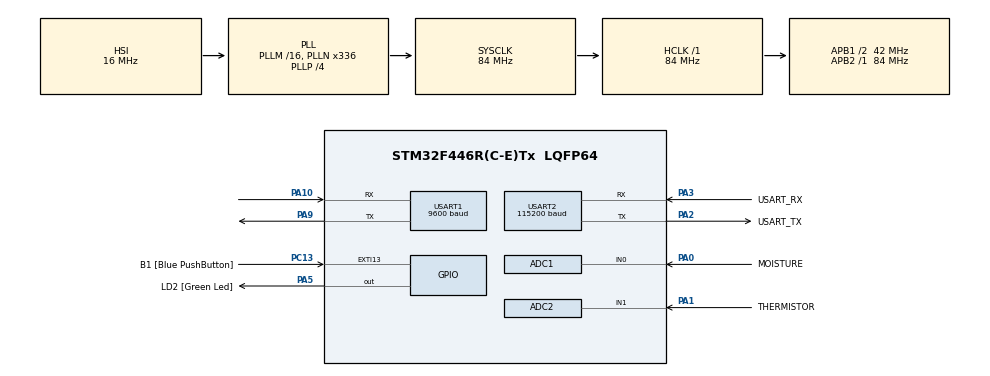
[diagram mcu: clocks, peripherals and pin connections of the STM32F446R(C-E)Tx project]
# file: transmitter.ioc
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ADC1.Channel-0\#ChannelRegularConversion=ADC_CHANNEL_0
ADC1.NbrOfConversionFlag=1
ADC1.Rank-0\#ChannelRegularConversion=1
ADC1.SamplingTime-0\#ChannelRegularConversion=ADC_SAMPLETIME_3CYCLES
ADC1.master=1
ADC2.Channel-1\#ChannelRegularConversion=ADC_CHANNEL_1
ADC2.NbrOfConversionFlag=1
ADC2.Rank-1\#ChannelRegularConversion=1
ADC2.SamplingTime-1\#ChannelRegularConversion=ADC_SAMPLETIME_3CYCLES
Mcu.Family=STM32F4
Mcu.Name=STM32F446R(C-E)Tx
Mcu.Package=LQFP64
NVIC.PriorityGroup=NVIC_PRIORITYGROUP_0
PA0-WKUP.GPIO_Label=MOISTURE
PA0-WKUP.Signal=ADCx_IN0
PA1.GPIO_Label=THERMISTOR
PA1.Signal=ADCx_IN1
PA10.Mode=Asynchronous
PA10.Signal=USART1_RX
PA13.GPIO_Label=TMS
PA13.Mode=Serial_Wire
PA13.Signal=SYS_JTMS-SWDIO
PA14.GPIO_Label=TCK
PA14.Mode=Serial_Wire
PA14.Signal=SYS_JTCK-SWCLK
PA2.GPIO_Label=USART_TX
PA2.Mode=Asynchronous
PA2.Signal=USART2_TX
PA3.GPIO_Label=USART_RX
PA3.Mode=Asynchronous
PA3.Signal=USART2_RX
PA5.GPIO_Label=LD2 [Green Led]
PA5.Signal=GPIO_Output
PA9.Mode=Asynchronous
PA9.Signal=USART1_TX
PB3.GPIO_Label=SWO
PB3.Signal=SYS_JTDO-SWO
PC13.GPIO_Label=B1 [Blue PushButton]
PC13.GPIO_ModeDefaultEXTI=GPIO_MODE_IT_FALLING
PC13.Signal=GPXTI13
PC14-OSC32_IN.Mode=LSE-External-Oscillator
PC14-OSC32_IN.Signal=RCC_OSC32_IN
PC15-OSC32_OUT.Mode=LSE-External-Oscillator
PC15-OSC32_OUT.Signal=RCC_OSC32_OUT
PH0-OSC_IN.Mode=HSE-External-Oscillator
PH0-OSC_IN.Signal=RCC_OSC_IN
PH1-OSC_OUT.Mode=HSE-External-Oscillator
PH1-OSC_OUT.Signal=RCC_OSC_OUT
ProjectManager.HeapSize=0x200
ProjectManager.StackSize=0x400
ProjectManager.TargetToolchain=STM32CubeIDE
RCC.48MHZClocksFreq_Value=84000000
RCC.AHBFreq_Value=84000000
RCC.APB1CLKDivider=RCC_HCLK_DIV2
RCC.APB1Freq_Value=42000000
RCC.APB1TimFreq_Value=84000000
RCC.APB2Freq_Value=84000000
RCC.APB2TimFreq_Value=84000000
RCC.CortexFreq_Value=84000000
RCC.FLatency-AdvancedSettings=FLASH_LATENCY_2
RCC.HCLKFreq_Value=84000000
RCC.HSE_VALUE=8000000
RCC.HSI_VALUE=16000000
RCC.PLLN=336
RCC.PLLP=RCC_PLLP_DIV4
RCC.SYSCLKFreq_VALUE=84000000
RCC.SYSCLKSource=RCC_SYSCLKSOURCE_PLLCLK
RCC.USBFreq_Value=168000000
RCC.VCOOutputFreq_Value=336000000
SH.ADCx_IN0.0=ADC1_IN0,IN0
SH.ADCx_IN1.0=ADC2_IN1,IN1
USART1.BaudRate=9600
USART1.VirtualMode=VM_ASYNC
USART2.BaudRate=115200
USART2.VirtualMode=VM_ASYNC
board=NUCLEO-F446RE

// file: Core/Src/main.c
/* USER CODE BEGIN Header */
/**
  ******************************************************************************
  * @file           : main.c
  * @brief          : Main program body
  ******************************************************************************
  * @attention
  *
  * Copyright (c) 2024 STMicroelectronics.
  * All rights reserved.
  *
  * This software is licensed under terms that can be found in the LICENSE file
  * in the root directory of this software component.
  * If no LICENSE file comes with this software, it is provided AS-IS.
  *
  ******************************************************************************
  */
/* USER CODE END Header */
#include "main.h"

/* USER CODE BEGIN Includes */
#include <stdint.h>
#include <string.h>
#include <stdio.h>
#include <math.h>
/* USER CODE END Includes */

/* USER CODE BEGIN PD */
#define SENSOR_INPUT_VOLTAGE 5
#define THERMISTOR_RESISTANCE 10
/* USER CODE END PD */

ADC_HandleTypeDef hadc1;
ADC_HandleTypeDef hadc2;

UART_HandleTypeDef huart1;
UART_HandleTypeDef huart2;

/* USER CODE BEGIN PV */
ADC_HandleTypeDef *moistureADC = &hadc1;
ADC_HandleTypeDef *thermistorADC = &hadc2;
/* USER CODE END PV */

void SystemClock_Config(void);
static void MX_GPIO_Init(void);
static void MX_ADC1_Init(void);
static void MX_USART2_UART_Init(void);
static void MX_ADC2_Init(void);
static void MX_USART1_UART_Init(void);

/* USER CODE BEGIN 0 */
float getVoltage(ADC_HandleTypeDef *adc) {
	HAL_ADC_Start(adc);
    HAL_ADC_PollForConversion(adc, HAL_MAX_DELAY);
    uint16_t reading = HAL_ADC_GetValue(adc);
    return ((float)reading / 4095) * 3.3;
}

float getTemp(ADC_HandleTypeDef *adc) {
    /*
     * uses the voltage divider formula Vout = Vin(R2 / R1 + R2) to isolate R2 (input resistance)
     * - Vin = 5V
     * - R1 = 10kOhm
     *
     * R2 mapped to a curve of best fit of to get temperature: T = 79.8 - 23.5ln(R2)
     */
    float v_out = getVoltage(adc);
    float resistance = v_out * THERMISTOR_RESISTANCE / (SENSOR_INPUT_VOLTAGE - v_out);
    float temp = 78.8 - 23.5 * log(resistance);
    return temp;
}

float getMoisture(ADC_HandleTypeDef *adc) {
    /*
     * calibration curve: VWC = 1.954/V_out - 0.907
     */
    float v_out = getVoltage(adc);
    float VWC = 1.954/v_out - 0.907;
    VWC *= 100;
    if (VWC < 2) {
        VWC = 2;
    }
	return VWC;
}

void sendReadings(float temp, float moisture) {
    char buffer[30];
    sprintf(buffer, "tmp: %.2f˚C\r\nVWC: %.2f%%\r\n", temp, moisture);
    HAL_UART_Transmit(&huart1, (uint8_t*)buffer, strlen(buffer), HAL_MAX_DELAY);
}
/* USER CODE END 0 */

int main(void)
{

  /* MCU Configuration--------------------------------------------------------*/

  /* Reset of all peripherals, Initializes the Flash interface and the Systick. */
  HAL_Init();

  /* Configure the system clock */
  SystemClock_Config();

  /* Initialize all configured peripherals */
  MX_GPIO_Init();
  MX_ADC1_Init();
  MX_USART2_UART_Init();
  MX_ADC2_Init();
  MX_USART1_UART_Init();
  /* USER CODE BEGIN 2 */
  HAL_ADC_Start(&hadc1);
  HAL_ADC_Start(&hadc2);
  /* USER CODE END 2 */

  /* Infinite loop */
  while (1)
  {

    /* USER CODE BEGIN 3 */
	  float moisture_val = getMoisture(moistureADC);

      float thermistor_val = getTemp(thermistorADC);
      sendReadings(thermistor_val, moisture_val);
      HAL_Delay(3000);
  }
  /* USER CODE END 3 */
}

void SystemClock_Config(void)
{
  RCC_OscInitTypeDef RCC_OscInitStruct = {0};
  RCC_ClkInitTypeDef RCC_ClkInitStruct = {0};

  /** Configure the main internal regulator output voltage
  */
  __HAL_RCC_PWR_CLK_ENABLE();
  __HAL_PWR_VOLTAGESCALING_CONFIG(PWR_REGULATOR_VOLTAGE_SCALE3);

  /** Initializes the RCC Oscillators according to the specified parameters
  * in the RCC_OscInitTypeDef structure.
  */
  RCC_OscInitStruct.OscillatorType = RCC_OSCILLATORTYPE_HSI;
  RCC_OscInitStruct.HSIState = RCC_HSI_ON;
  RCC_OscInitStruct.HSICalibrationValue = RCC_HSICALIBRATION_DEFAULT;
  RCC_OscInitStruct.PLL.PLLState = RCC_PLL_ON;
  RCC_OscInitStruct.PLL.PLLSource = RCC_PLLSOURCE_HSI;
  RCC_OscInitStruct.PLL.PLLM = 16;
  RCC_OscInitStruct.PLL.PLLN = 336;
  RCC_OscInitStruct.PLL.PLLP = RCC_PLLP_DIV4;
  RCC_OscInitStruct.PLL.PLLQ = 2;
  RCC_OscInitStruct.PLL.PLLR = 2;
  if (HAL_RCC_OscConfig(&RCC_OscInitStruct) != HAL_OK)
  {
    Error_Handler();
  }

  /** Initializes the CPU, AHB and APB buses clocks
  */
  RCC_ClkInitStruct.ClockType = RCC_CLOCKTYPE_HCLK|RCC_CLOCKTYPE_SYSCLK
                              |RCC_CLOCKTYPE_PCLK1|RCC_CLOCKTYPE_PCLK2;
  RCC_ClkInitStruct.SYSCLKSource = RCC_SYSCLKSOURCE_PLLCLK;
  RCC_ClkInitStruct.AHBCLKDivider = RCC_SYSCLK_DIV1;
  RCC_ClkInitStruct.APB1CLKDivider = RCC_HCLK_DIV2;
  RCC_ClkInitStruct.APB2CLKDivider = RCC_HCLK_DIV1;

  if (HAL_RCC_ClockConfig(&RCC_ClkInitStruct, FLASH_LATENCY_2) != HAL_OK)
  {
    Error_Handler();
  }
}

static void MX_ADC1_Init(void)
{

  ADC_ChannelConfTypeDef sConfig = {0};

  /** Configure the global features of the ADC (Clock, Resolution, Data Alignment and number of conversion)
  */
  hadc1.Instance = ADC1;
  hadc1.Init.ClockPrescaler = ADC_CLOCK_SYNC_PCLK_DIV4;
  hadc1.Init.Resolution = ADC_RESOLUTION_12B;
  hadc1.Init.ScanConvMode = DISABLE;
  hadc1.Init.ContinuousConvMode = DISABLE;
  hadc1.Init.DiscontinuousConvMode = DISABLE;
  hadc1.Init.ExternalTrigConvEdge = ADC_EXTERNALTRIGCONVEDGE_NONE;
  hadc1.Init.ExternalTrigConv = ADC_SOFTWARE_START;
  hadc1.Init.DataAlign = ADC_DATAALIGN_RIGHT;
  hadc1.Init.NbrOfConversion = 1;
  hadc1.Init.DMAContinuousRequests = DISABLE;
  hadc1.Init.EOCSelection = ADC_EOC_SINGLE_CONV;
  if (HAL_ADC_Init(&hadc1) != HAL_OK)
  {
    Error_Handler();
  }

  /** Configure for the selected ADC regular channel its corresponding rank in the sequencer and its sample time.
  */
  sConfig.Channel = ADC_CHANNEL_0;
  sConfig.Rank = 1;
  sConfig.SamplingTime = ADC_SAMPLETIME_3CYCLES;
  if (HAL_ADC_ConfigChannel(&hadc1, &sConfig) != HAL_OK)
  {
    Error_Handler();
  }

}

static void MX_ADC2_Init(void)
{

  ADC_ChannelConfTypeDef sConfig = {0};

  /** Configure the global features of the ADC (Clock, Resolution, Data Alignment and number of conversion)
  */
  hadc2.Instance = ADC2;
  hadc2.Init.ClockPrescaler = ADC_CLOCK_SYNC_PCLK_DIV4;
  hadc2.Init.Resolution = ADC_RESOLUTION_12B;
  hadc2.Init.ScanConvMode = DISABLE;
  hadc2.Init.ContinuousConvMode = DISABLE;
  hadc2.Init.DiscontinuousConvMode = DISABLE;
  hadc2.Init.ExternalTrigConvEdge = ADC_EXTERNALTRIGCONVEDGE_NONE;
  hadc2.Init.ExternalTrigConv = ADC_SOFTWARE_START;
  hadc2.Init.DataAlign = ADC_DATAALIGN_RIGHT;
  hadc2.Init.NbrOfConversion = 1;
  hadc2.Init.DMAContinuousRequests = DISABLE;
  hadc2.Init.EOCSelection = ADC_EOC_SINGLE_CONV;
  if (HAL_ADC_Init(&hadc2) != HAL_OK)
  {
    Error_Handler();
  }

  /** Configure for the selected ADC regular channel its corresponding rank in the sequencer and its sample time.
  */
  sConfig.Channel = ADC_CHANNEL_1;
  sConfig.Rank = 1;
  sConfig.SamplingTime = ADC_SAMPLETIME_3CYCLES;
  if (HAL_ADC_ConfigChannel(&hadc2, &sConfig) != HAL_OK)
  {
    Error_Handler();
  }

}

static void MX_USART1_UART_Init(void)
{

  huart1.Instance = USART1;
  huart1.Init.BaudRate = 9600;
  huart1.Init.WordLength = UART_WORDLENGTH_8B;
  huart1.Init.StopBits = UART_STOPBITS_1;
  huart1.Init.Parity = UART_PARITY_NONE;
  huart1.Init.Mode = UART_MODE_TX_RX;
  huart1.Init.HwFlowCtl = UART_HWCONTROL_NONE;
  huart1.Init.OverSampling = UART_OVERSAMPLING_16;
  if (HAL_UART_Init(&huart1) != HAL_OK)
  {
    Error_Handler();
  }

}

static void MX_USART2_UART_Init(void)
{

  huart2.Instance = USART2;
  huart2.Init.BaudRate = 115200;
  huart2.Init.WordLength = UART_WORDLENGTH_8B;
  huart2.Init.StopBits = UART_STOPBITS_1;
  huart2.Init.Parity = UART_PARITY_NONE;
  huart2.Init.Mode = UART_MODE_TX_RX;
  huart2.Init.HwFlowCtl = UART_HWCONTROL_NONE;
  huart2.Init.OverSampling = UART_OVERSAMPLING_16;
  if (HAL_UART_Init(&huart2) != HAL_OK)
  {
    Error_Handler();
  }

}

static void MX_GPIO_Init(void)
{
  GPIO_InitTypeDef GPIO_InitStruct = {0};

  /* GPIO Ports Clock Enable */
  __HAL_RCC_GPIOC_CLK_ENABLE();
  __HAL_RCC_GPIOH_CLK_ENABLE();
  __HAL_RCC_GPIOA_CLK_ENABLE();
  __HAL_RCC_GPIOB_CLK_ENABLE();

  /*Configure GPIO pin Output Level */
  HAL_GPIO_WritePin(LD2_GPIO_Port, LD2_Pin, GPIO_PIN_RESET);

  /*Configure GPIO pin : B1_Pin */
  GPIO_InitStruct.Pin = B1_Pin;
  GPIO_InitStruct.Mode = GPIO_MODE_IT_FALLING;
  GPIO_InitStruct.Pull = GPIO_NOPULL;
  HAL_GPIO_Init(B1_GPIO_Port, &GPIO_InitStruct);

  /*Configure GPIO pin : LD2_Pin */
  GPIO_InitStruct.Pin = LD2_Pin;
  GPIO_InitStruct.Mode = GPIO_MODE_OUTPUT_PP;
  GPIO_InitStruct.Pull = GPIO_NOPULL;
  GPIO_InitStruct.Speed = GPIO_SPEED_FREQ_LOW;
  HAL_GPIO_Init(LD2_GPIO_Port, &GPIO_InitStruct);

}

void Error_Handler(void)
{
  __disable_irq();
  while (1)
  {
  }
}
